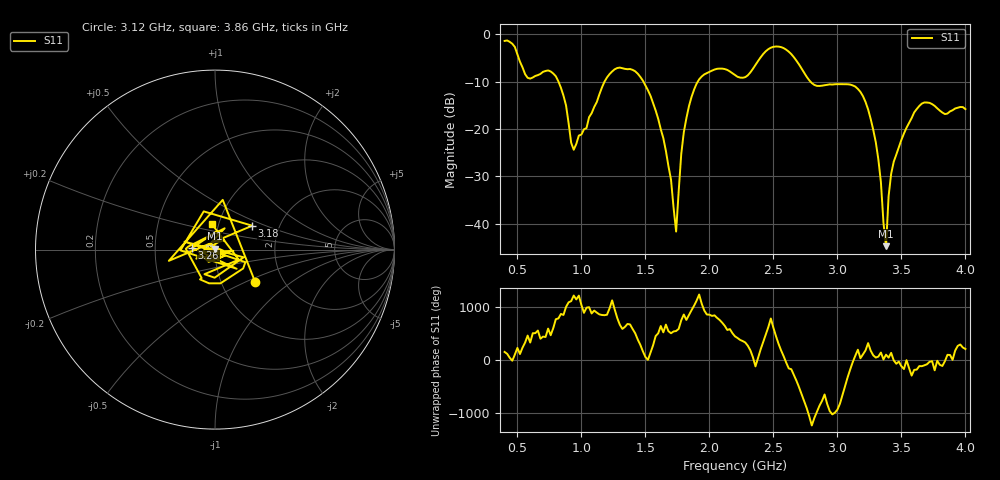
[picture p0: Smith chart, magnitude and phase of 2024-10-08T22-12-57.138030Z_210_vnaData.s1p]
! Created with skrf (http://scikit-rf.org).
# Hz S RI R 50.0
!freq ReS11 ImS11
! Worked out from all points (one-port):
!   181 points, 400 MHz to 4 GHz, reference 50 ohm
!   lowest |S11| = -44.7 dB at 3.38 GHz (marker M1), VSWR 1.01, Z = 49.9 + j0.571 ohm
!   |S11| at or under -10 dB: 821 MHz to 1.18 GHz (359.4 MHz wide, 35.9 % of centre); 1.484 GHz to 1.909 GHz (424.7 MHz wide, 25 % of centre); 2.79 GHz to end of sweep
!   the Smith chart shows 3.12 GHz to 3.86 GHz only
!   S11 on the Smith chart (normalised r, x): 3.12 GHz: 1.44, -0.57; 3.18 GHz: 1.45, +0.41; 3.26 GHz: 0.77, +0.02; 3.86 GHz: 0.92, +0.27
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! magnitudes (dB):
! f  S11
! 400 MHz  -1.4
! 580 MHz  -9.2
! 760 MHz  -7.9
! 860 MHz  -13.0
! 940 MHz  -24.4
! 1.3 GHz  -7.0
! 1.44 GHz  -8.3
! 1.58 GHz  -16.1
! 1.7 GHz  -30.7
! 1.74 GHz  -41.6
! 1.76 GHz  -33.1
! 1.8 GHz  -20.7
! 1.9 GHz  -10.4
! 2.2 GHz  -8.6
! 2.5 GHz  -2.7
! 2.66 GHz  -4.8
! 2.82 GHz  -10.7
! 3.1 GHz  -10.6
! 3.12 GHz  -10.8
! 3.18 GHz  -12.2
! 3.26 GHz  -17.9
! 3.32 GHz  -26.4
! 3.38 GHz  -44.7
! 3.42 GHz  -29.5
! 3.56 GHz  -18.7
! 3.68 GHz  -14.4
! 3.86 GHz  -16.7
! 4 GHz  -15.8
